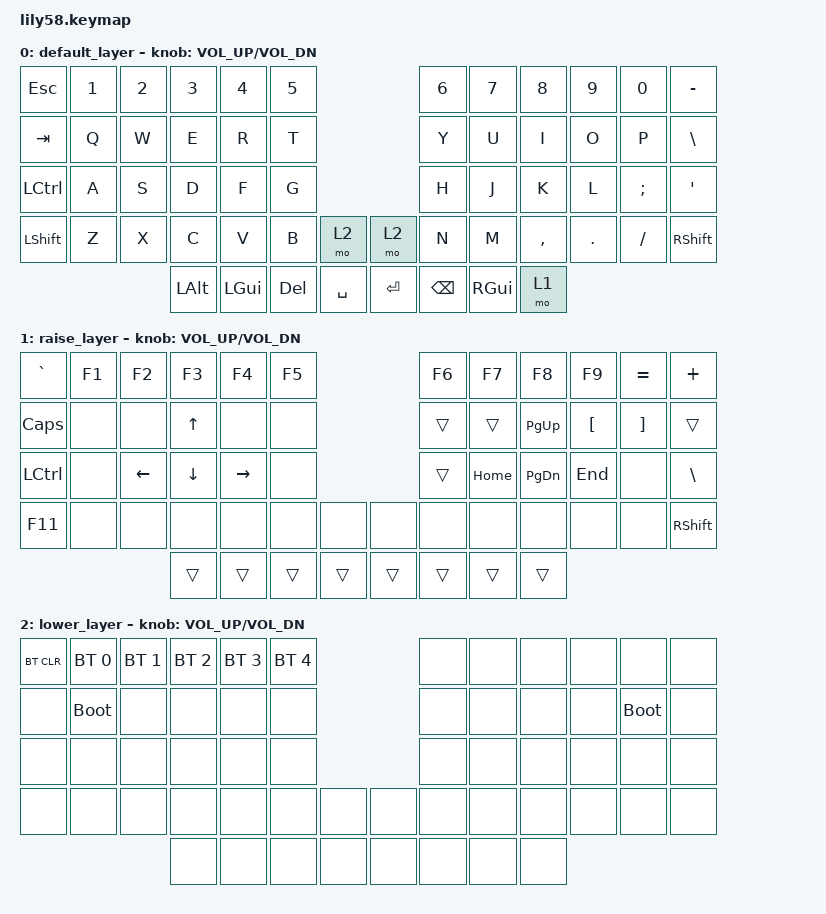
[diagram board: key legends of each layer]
/*
 * Copyright (c) 2020 The ZMK Contributors
 *
 * SPDX-License-Identifier: MIT
 */

#include <behaviors.dtsi>
#include <dt-bindings/zmk/bt.h>
#include <dt-bindings/zmk/keys.h>

/ {
    keymap {
        compatible = "zmk,keymap";

        default_layer {
            // ------------------------------------------------------------------------------------------------------------
            // |  ESC  |  1  |  2  |  3   |  4   |  5   |                   |  6   |  7    |  8    |  9   |   0   |   -   |
            // |  TAB  |  Q  |  W  |  E   |  R   |  T   |                   |  Y   |  U    |  I    |  O   |   P   |   \   |
            // |  CTRL |  A  |  S  |  D   |  F   |  G   |                   |  H   |  J    |  K    |  L   |   ;   |   '   |
            // | SHIFT |  Z  |  X  |  C   |  V   |  B   |   "["  |  |  "]"  |  N   |  M    |  ,    |  .   |   /   | SHIFT |
            //                     | ALT  | GUI  | DELETE|  SPACE |  | ENTER | RAISE| BSPC  | GUI   |

            bindings = <
&kp ESC    &kp N1  &kp N2  &kp N3    &kp N4    &kp N5                            &kp N6    &kp N7    &kp N8     &kp N9   &kp N0    &kp MINUS
&kp TAB    &kp Q   &kp W   &kp E     &kp R     &kp T                             &kp Y     &kp U     &kp I      &kp O    &kp P     &kp BACKSLASH
&kp LCTRL  &kp A   &kp S   &kp D     &kp F     &kp G                             &kp H     &kp J     &kp K      &kp L    &kp SEMI  &kp SQT
&kp LSHFT  &kp Z   &kp X   &kp C     &kp V     &kp B       &mo 2        &mo 2    &kp N     &kp M     &kp COMMA  &kp DOT  &kp FSLH  &kp RSHFT
                           &kp LALT  &kp LGUI  &kp DELETE  &kp SPACE    &kp RET  &kp BSPC  &kp RGUI  &mo 1
            >;

            sensor-bindings = <&inc_dec_kp C_VOL_UP C_VOL_DN>;
        };

        raise_layer {
            // ------------------------------------------------------------------------------------------------------------
            // |       |     |     |      |      |      |                   |      |       |       |      |       |       |
            // |   `   |  1  |  2  |  3   |  4   |  5   |                   |  6   |   7   |   8   |  9   |   0   |       |
            // |   F1  |  F2 |  F3 |  F4  |  F5  |  F6  |                   |      |   <-  |   v   |  ^   |  ->   |       |
            // |   F7  |  F8 |  F9 |  F10 |  F11 |  F12 |        |  |       |  +   |   -   |   =   |  [   |   ]   |   \   |
            //                     |      |      |      |        |  |       |      |       |       |

            bindings = <
&kp GRAVE     &kp F1  &kp F2    &kp F3    &kp F4     &kp F5                    &kp F6  &kp F7    &kp F8         &kp F9            &kp EQUAL          &kp PLUS
&kp CAPSLOCK  &none   &none     &kp UP    &none      &none                     &trans  &trans    &kp PAGE_UP    &kp LEFT_BRACKET  &kp RIGHT_BRACKET  &trans
&kp LCTRL     &none   &kp LEFT  &kp DOWN  &kp RIGHT  &none                     &trans  &kp HOME  &kp PAGE_DOWN  &kp END           &none              &kp BACKSLASH
&kp F11       &none   &none     &none     &none      &none   &none     &none   &none   &none     &none          &none             &none              &kp RIGHT_SHIFT
                                &trans    &trans     &trans  &trans    &trans  &trans  &trans    &trans
            >;

            sensor-bindings = <&inc_dec_kp C_VOL_UP C_VOL_DN>;
        };

        lower_layer {
            // ------------------------------------------------------------------------------------------------------------
            // | BTCLR | BT1 | BT2 |  BT3 |  BT4 |  BT5 |                   |      |       |       |      |       |       |
            // |  F1   |  F2 |  F3 |  F4  |  F5  |  F6  |                   |  F7  |  F8   |  F9   |  F10 |  F11  |  F12  |
            // |   `   |  !  |  @  |  #   |  $   |  %   |                   |  ^   |  &    |  *    |  (   |   )   |   ~   |
            // |       |     |     |      |      |      |        |  |       |      |  _    |  +    |  {   |   }   |  "|"  |
            //                     |      |      |      |        |  |       |      |       |       |

            bindings = <
&bt BT_CLR  &bt BT_SEL 0  &bt BT_SEL 1  &bt BT_SEL 2  &bt BT_SEL 3  &bt BT_SEL 4                  &none  &none  &none  &none  &none        &none
&none       &bootloader   &none         &none         &none         &none                         &none  &none  &none  &none  &bootloader  &none
&none       &none         &none         &none         &none         &none                         &none  &none  &none  &none  &none        &none
&none       &none         &none         &none         &none         &none         &none    &none  &none  &none  &none  &none  &none        &none
                                        &none         &none         &none         &none    &none  &none  &none  &none
            >;

            sensor-bindings = <&inc_dec_kp C_VOL_UP C_VOL_DN>;
        };
    };
};
